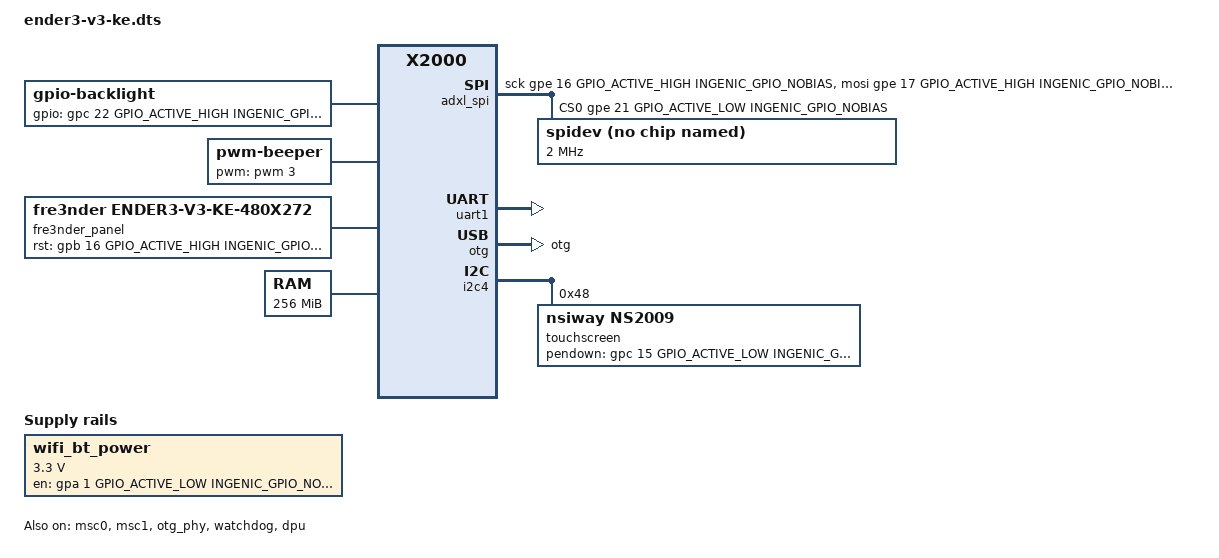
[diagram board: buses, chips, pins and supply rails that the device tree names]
/dts-v1/;

#include <dt-bindings/gpio/gpio.h>
#include "x2000.dtsi"

/ {
	compatible = "creality,ender-3-v3-ke", "ingenic,x2000";

	chosen {
		/* UART1 is reserved for the printer MCU and must not be the console. */
		bootargs = "console=ttyS4,115200 root=/dev/mmcblk0p8 rootwait rootfstype=squashfs ro";
	};

	backlight {
		compatible = "gpio-backlight";
		gpios = <&gpc 22 GPIO_ACTIVE_HIGH INGENIC_GPIO_NOBIAS>;
	};

	/*
	 * Ender-3 V3 KE onboard passive piezo on PC03 / X2000 PWM3.
	 * The X2000 pinctrl include already provides pwm3_pc for this pin.
	 */
	beeper {
		compatible = "pwm-beeper";
		pwms = <&pwm 3 1000000>;
		pinctrl-names = "default";
		pinctrl-0 = <&pwm3_pc>;
	};

	fre3nder_panel: fre3nder-panel {
		compatible = "fre3nder,ender3-v3-ke-480x272";
		ingenic,rst-gpio = <&gpb 16 GPIO_ACTIVE_HIGH INGENIC_GPIO_NOBIAS>;
	};

	memory@0 {
		device_type = "memory";
		reg = <0x0 0x10000000>;
	};

	wifi_bt_power: wifi-bt-power {
		compatible = "regulator-fixed";
		regulator-name = "wifi_bt_power";
		regulator-min-microvolt = <3300000>;
		regulator-max-microvolt = <3300000>;
		gpio = <&gpa 1 GPIO_ACTIVE_LOW INGENIC_GPIO_NOBIAS>;
		regulator-always-on;
		regulator-boot-on;
	};

	/*
	 * Onboard ADXL345 wiring and polarities, externally hardware-qualified by
	 * OpenKE/NebulaOS at commit 95f770a858a1076f7ffdb6b4541181034862f57e:
	 * https://github.com/coreflake1/NebulaOS-firmware/blob/95f770a858a1076f7ffdb6b4541181034862f57e/scripts/build/accelerometer-eeprom-bus-enable-variant.sh
	 * Fre3nder checked the polarity interpretation against the pinned Linux
	 * 6.6.18 spi-gpio driver. The spidev-compatible token is from that kernel's
	 * allowlist; it is not an assertion that a ROHM device is fitted.
	 */
	adxl_spi: spi-gpio-adxl345 {
		compatible = "spi-gpio";
		#address-cells = <1>;
		#size-cells = <0>;
		sck-gpios = <&gpe 16 GPIO_ACTIVE_HIGH INGENIC_GPIO_NOBIAS>;
		mosi-gpios = <&gpe 17 GPIO_ACTIVE_HIGH INGENIC_GPIO_NOBIAS>;
		miso-gpios = <&gpe 18 GPIO_ACTIVE_HIGH INGENIC_GPIO_NOBIAS>;
		cs-gpios = <&gpe 21 GPIO_ACTIVE_LOW INGENIC_GPIO_NOBIAS>;
		num-chipselects = <1>;

		spidev@0 {
			compatible = "rohm,dh2228fv";
			reg = <0>;
			spi-max-frequency = <2000000>;
		};
	};
};

&aliases {
	spi2 = &adxl_spi;
};

&uart1_pin {
	uart1_pc_txrx: uart1-pc-txrx {
		ingenic,pinmux = <&gpc 23 24>;
		ingenic,pinmux-funcsel = <PINCTL_FUNCTION1>;
	};
};

&uart1 {
	status = "okay";
	pinctrl-names = "default";
	pinctrl-0 = <&uart1_pc_txrx>;
};

&msc0 {
	status = "okay";
	pinctrl-names = "default";
	pinctrl-0 = <&msc0_8bit>;
	mmc-hs200-1_8v;
	cap-mmc-highspeed;
	non-removable;
	max-frequency = <100000000>;
	bus-width = <8>;
	voltage-ranges = <1800 3300>;
	ingenic,rst-gpios = <0>;
};

&msc1 {
	status = "okay";
	pinctrl-names = "default", "enable", "disable";
	pinctrl-0 = <&msc1_4bit>;
	pinctrl-1 = <&rtc32k_enable>;
	pinctrl-2 = <&rtc32k_disable>;
	cap-sd-highspeed;
	max-frequency = <100000000>;
	bus-width = <4>;
	voltage-ranges = <1800 3300>;
	non-removable;
	vmmc-supply = <&wifi_bt_power>;
	keep-power-in-suspend;
	ingenic,sdio_clk = <1>;
	ingenic,removal-manual;
	wlan-reg-on-gpios = <&gpd 4 GPIO_ACTIVE_HIGH INGENIC_GPIO_NOBIAS>;
};

&otg {
	dr_mode = "otg";
	status = "okay";
};

&otg_phy {
	/*
	 * Ender-3 V3 KE USB PHY wiring. GPC9 is not guessed: NebulaOS/OpenKE
	 * documents it as the VBUS-drive GPIO derived from the real Stock DTB:
	 * coreflake1/NebulaOS-kernel, commit
	 * c902097d1a79c21ef6717d7e4ecc1db2a9233990:
	 * https://github.com/coreflake1/NebulaOS-kernel/commit/c902097d1a79c21ef6717d7e4ecc1db2a9233990
	 *
	 * Fre3nder independently checked that the pinned X2000 USB PHY driver
	 * consumes this property with matching active-high semantics. GPD17
	 * VBUS-detect is likewise taken from that documented board configuration
	 * and checked against the local driver semantics.
	 */
	status = "okay";
	ingenic,vbus-dete-gpio = <&gpd 17 GPIO_ACTIVE_LOW INGENIC_GPIO_NOBIAS>;
	ingenic,drvvbus-gpio = <&gpc 9 GPIO_ACTIVE_HIGH INGENIC_GPIO_NOBIAS>;
};

&uart3 {
	/*
	 * UART3 and I2C4 share GPC25/GPC26 on the Ender-3 V3 KE.
	 * Touch owns the static pinmux; Bluetooth would require a separate
	 * runtime pin hand-off if implemented later.
	 */
	status = "disabled";
};

&i2c4 {
	status = "okay";
	pinctrl-names = "default";
	pinctrl-0 = <&i2c4_pc>;

	touchscreen@48 {
		compatible = "nsiway,ns2009";
		reg = <0x48>;
		pendown-gpios = <&gpc 15 GPIO_ACTIVE_LOW INGENIC_GPIO_NOBIAS>;
	};
};

&watchdog {
	status = "okay";
};

&dpu {
	status = "okay";
};
